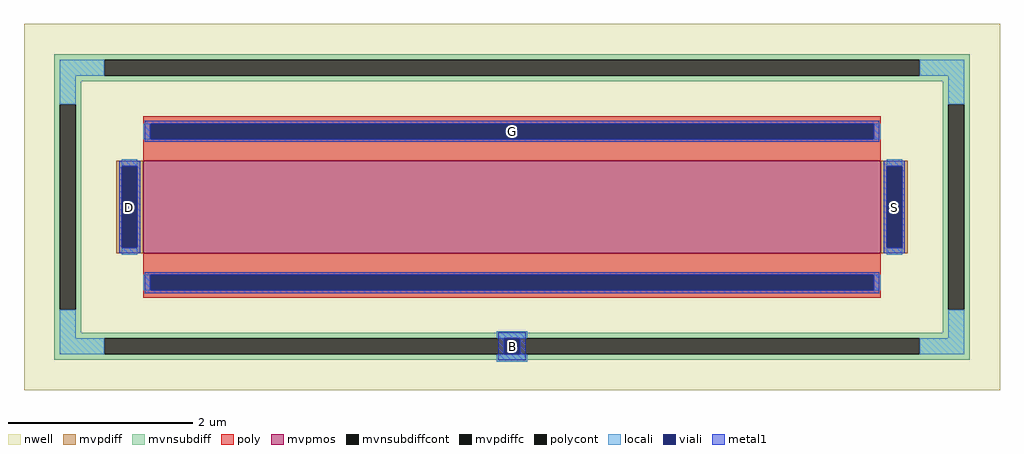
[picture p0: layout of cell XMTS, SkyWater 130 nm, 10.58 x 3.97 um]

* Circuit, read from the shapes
.subckt XMTS B D S G
XM1 S G D B sky130_fd_pr__pfet_g5v0d10v5 w=1 l=8
.ends

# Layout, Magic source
magic
tech sky130A
magscale 1 2
<< nwell >>
rect -1058 -397 1058 397
<< mvpmos >>
rect -800 -100 800 100
<< mvpdiff >>
rect -858 88 -800 100
rect -858 -88 -846 88
rect -812 -88 -800 88
rect -858 -100 -800 -88
rect 800 88 858 100
rect 800 -88 812 88
rect 846 -88 858 88
rect 800 -100 858 -88
<< mvpdiffc >>
rect -846 -88 -812 88
rect 812 -88 846 88
<< mvnsubdiff >>
rect -992 319 992 331
rect -992 285 -884 319
rect 884 285 992 319
rect -992 273 992 285
rect -992 223 -934 273
rect -992 -223 -980 223
rect -946 -223 -934 223
rect 934 223 992 273
rect -992 -273 -934 -223
rect 934 -223 946 223
rect 980 -223 992 223
rect 934 -273 992 -223
rect -992 -285 992 -273
rect -992 -319 -884 -285
rect 884 -319 992 -285
rect -992 -331 992 -319
<< mvnsubdiffcont >>
rect -884 285 884 319
rect -980 -223 -946 223
rect 946 -223 980 223
rect -884 -319 884 -285
<< poly >>
rect -800 181 800 197
rect -800 147 -784 181
rect 784 147 800 181
rect -800 100 800 147
rect -800 -147 800 -100
rect -800 -181 -784 -147
rect 784 -181 800 -147
rect -800 -197 800 -181
<< polycont >>
rect -784 147 784 181
rect -784 -181 784 -147
<< locali >>
rect -980 285 -884 319
rect 884 285 980 319
rect -980 223 -946 285
rect 946 223 980 285
rect -800 147 -784 181
rect 784 147 800 181
rect -846 88 -812 104
rect -846 -104 -812 -88
rect 812 88 846 104
rect 812 -104 846 -88
rect -800 -181 -784 -147
rect 784 -181 800 -147
rect -980 -285 -946 -223
rect -33 -285 33 -269
rect 946 -285 980 -223
rect -980 -319 -884 -285
rect 884 -319 980 -285
rect -33 -335 33 -319
<< viali >>
rect -784 147 784 181
rect -846 -88 -812 88
rect 812 -88 846 88
rect -784 -181 784 -147
rect -17 -319 17 -285
<< metal1 >>
rect -796 181 796 187
rect -796 147 -784 181
rect 784 147 796 181
rect -796 141 796 147
rect -852 88 -806 100
rect -852 -88 -846 88
rect -812 -88 -806 88
rect -852 -100 -806 -88
rect 806 88 852 100
rect 806 -88 812 88
rect 846 -88 852 88
rect 806 -100 852 -88
rect -796 -147 796 -141
rect -796 -181 -784 -147
rect 784 -181 796 -147
rect -796 -187 796 -181
rect -30 -285 30 -272
rect -30 -319 -17 -285
rect 17 -319 30 -285
rect -30 -332 30 -319
<< labels >>
rlabel mvnsubdiffcont 0 -302 0 -302 0 B
port 4 nsew
rlabel mvpdiffc -829 0 -829 0 0 D
port 5 nsew
rlabel mvpdiffc 829 0 829 0 0 S
port 6 nsew
rlabel polycont 0 164 0 164 0 G
port 7 nsew
<< properties >>
string FIXED_BBOX -963 -302 963 302
<< end >>
